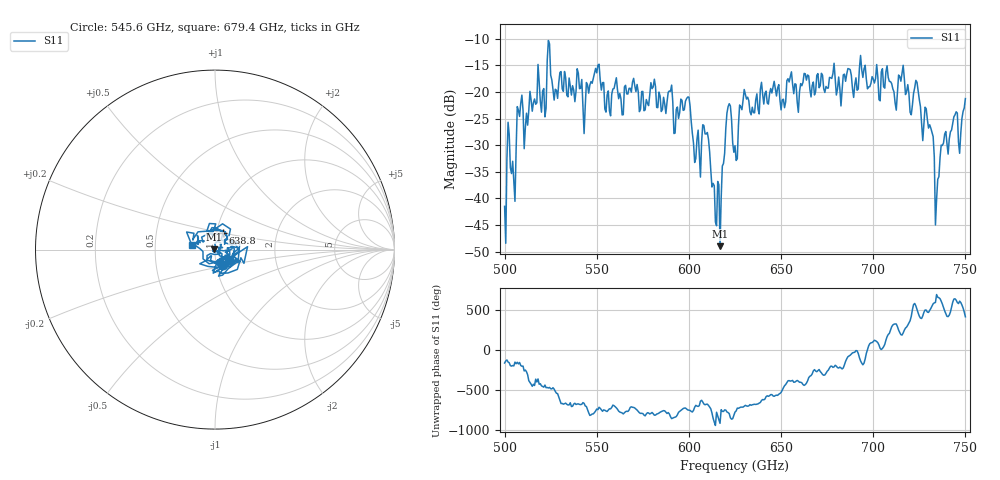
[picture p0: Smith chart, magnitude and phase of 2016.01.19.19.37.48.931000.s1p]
!Created with skrf (http://scikit-rf.org).
# GHz S RI R 50.0
!freq ReS11 ImS11
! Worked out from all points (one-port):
!   401 points, 500 GHz to 750 GHz, reference 50 ohm
!   lowest |S11| = -49.0 dB at 616.9 GHz (marker M1), VSWR 1.01, Z = 49.7 + j0.0949 ohm
!   |S11| at or under -10 dB: start of sweep to end of sweep
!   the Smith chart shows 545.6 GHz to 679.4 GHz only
!   S11 on the Smith chart (normalised r, x): 545.6 GHz: 1.07, -0.19; 638.8 GHz: 1.07, +0.21; 679.4 GHz: 0.77, +0.04
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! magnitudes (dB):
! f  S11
! 500 GHz  -41.5
! 502.5 GHz  -28.0
! 505 GHz  -36.9
! 508.1 GHz  -24.6
! 521.2 GHz  -19.4
! 524.4 GHz  -11.0
! 527.5 GHz  -19.5
! 531.2 GHz  -19.4
! 545.6 GHz  -20.2
! 562.5 GHz  -20.3
! 593.8 GHz  -22.8
! 599.4 GHz  -21.0
! 605 GHz  -27.2
! 608.8 GHz  -27.9
! 613.8 GHz  -37.6
! 616.9 GHz  -49.0
! 621.2 GHz  -22.8
! 625 GHz  -30.1
! 628.8 GHz  -23.3
! 638.8 GHz  -19.6
! 656.2 GHz  -18.5
! 679.4 GHz  -17.5
! 687.5 GHz  -15.8
! 718.8 GHz  -18.6
! 729.4 GHz  -25.2
! 735 GHz  -36.4
! 738.1 GHz  -29.6
! 750 GHz  -21.2
